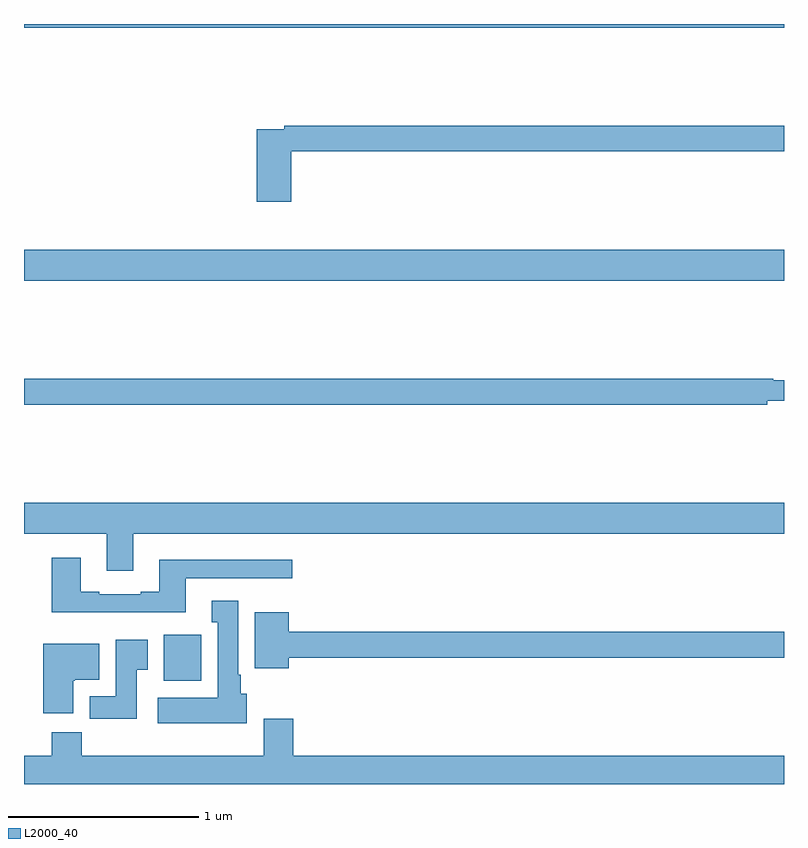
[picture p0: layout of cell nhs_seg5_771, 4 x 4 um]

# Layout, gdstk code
import gdstk
lib = gdstk.Library(unit=1e-6, precision=1e-09)
def R(c, l, rs):  # rectangles x0, y0, x1, y1
    for r in rs: c.add(gdstk.rectangle(r[:2], r[2:], *l))
def P(c, l, *ps):  # polygons
    for p in ps: c.add(gdstk.Polygon(p, *l))
L2000_40 = (2000, 40)

nhs_seg5_771 = lib.new_cell('nhs_seg5_771')
R(nhs_seg5_771, L2000_40, [(161.735,833.342,161.932,833.584), (161,835.448,165,835.612), (161,836.78,165,836.799)])
P(nhs_seg5_771, L2000_40, [(162.407,836.128),(165,836.128),(165,836.264),(162.37,836.264),(162.37,836.244),(162.224,836.244),(162.224,835.863),(162.407,835.863)],
  [(164.912,834.815),(165,834.815),(165,834.925),(164.944,834.925),(164.944,834.932),(161,834.932),(161,834.796),(164.912,834.796)],
  [(161.575,834.116),(165,834.116),(165,834.28),(161,834.28),(161,834.116),(161.435,834.116),(161.435,833.922),(161.575,833.922)],
  [(161.851,833.883),(162.412,833.883),(162.412,833.98),(161.711,833.98),(161.711,833.812),(161.615,833.812),(161.615,833.799),(161.395,833.799),(161.395,833.812),(161.299,833.812),(161.299,833.989),(161.147,833.989),(161.147,833.702),(161.851,833.702)],
  [(162.172,833.274),(162.142,833.274),(162.142,833.374),(162.127,833.374),(162.127,833.764),(161.987,833.764),(161.987,833.651),(162.02,833.651),(162.02,833.254),(161.703,833.254),(161.703,833.12),(162.172,833.12)],
  [(162.394,833.464),(165,833.464),(165,833.6),(162.394,833.6),(162.394,833.704),(162.215,833.704),(162.215,833.408),(162.394,833.408)],
  [(161.593,833.401),(161.65,833.401),(161.65,833.557),(161.483,833.557),(161.483,833.26),(161.345,833.26),(161.345,833.142),(161.593,833.142)],
  [(161.26,833.342),(161.266,833.342),(161.266,833.348),(161.395,833.348),(161.395,833.536),(161.102,833.536),(161.102,833.172),(161.26,833.172)],
  [(165,832.948),(162.416,832.948),(162.416,833.143),(162.263,833.143),(162.263,832.948),(161.303,832.948),(161.303,833.072),(161.147,833.072),(161.147,832.948),(161,832.948),(161,832.799),(165,832.799)])

lib.write_gds('nhs_seg5_771.gds')
